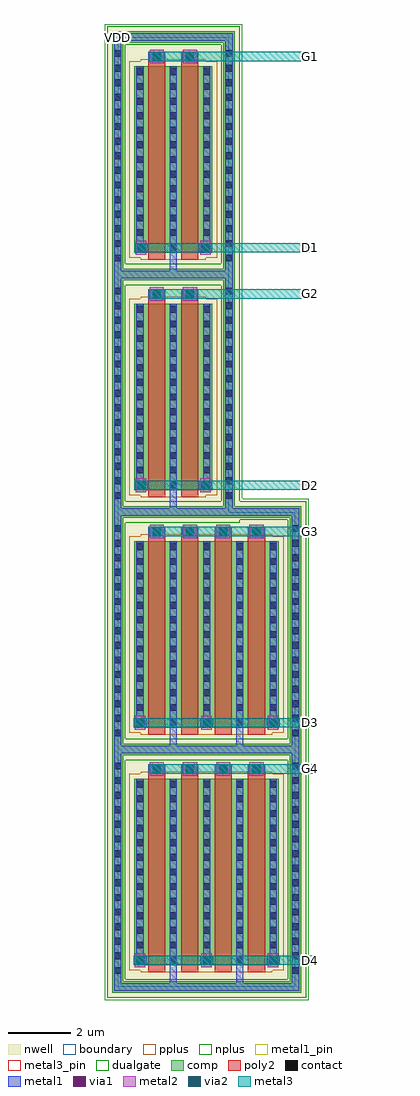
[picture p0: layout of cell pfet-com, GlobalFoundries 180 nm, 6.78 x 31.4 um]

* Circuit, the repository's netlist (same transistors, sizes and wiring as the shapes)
** sch_path: /foss/designs/sscs-chipathon2025-LNA/designs/libs/core_single-fet/pfet-com/pfet-com.sch
.subckt pfet-com VDD D1 G1 D2 G2 D3 G3 D4 G4
*.PININFO VDD:B D1:B G1:B D2:B G2:B D3:B G3:B G4:B D4:B
M9 D1 G1 VDD VDD pfet_06v0 L=0.55u W=6.0u nf=1 m=2
M10 D2 G2 VDD VDD pfet_06v0 L=0.55u W=6.0u nf=1 m=2
M11 D3 G3 VDD VDD pfet_06v0 L=0.55u W=6.0u nf=1 m=4
M12 D4 G4 VDD VDD pfet_06v0 L=0.55u W=6.0u nf=1 m=4
.ends

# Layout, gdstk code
import gdstk
lib = gdstk.Library(unit=1e-6, precision=1e-09)
def R(c, l, rs):  # rectangles x0, y0, x1, y1
    for r in rs: c.add(gdstk.rectangle(r[:2], r[2:], *l))
def A(c, l, x, y, w, h, nx, ny, dx, dy):  # array of equal rectangles
    R(c, l, [(x+i*dx, y+j*dy, x+i*dx+w, y+j*dy+h) for i in range(nx) for j in range(ny)])
boundary = (0, 0)
nwell = (21, 0)
comp = (22, 0)
poly2 = (30, 0)
pplus = (31, 0)
nplus = (32, 0)
contact = (33, 0)
metal1 = (34, 0)
metal1_pin = (34, 10)
via1 = (35, 0)
metal2 = (36, 0)
via2 = (38, 0)
metal3 = (42, 0)
metal3_pin = (42, 10)
dualgate = (55, 0)

pfet_06v0_zxy25q = lib.new_cell('pfet_06v0_ZXY25Q')
R(pfet_06v0_zxy25q, boundary, [(-2.86,-3.82,2.86,3.82)])
R(pfet_06v0_zxy25q, nwell, [(-3.2,-4.16,3.2,4.16)])
R(pfet_06v0_zxy25q, comp, [(-3.04,-4,3.04,-3.64), (-3.04,-3.64,-2.68,3.64), (2.68,-3.64,3.04,3.64), (-2.32,-3.12,2.32,2.88), (-3.04,3.64,3.04,4)])
A(pfet_06v0_zxy25q, poly2, -1.88, -3.34, 0.55, 6.68, 4, 1, 1.07, 0)
R(pfet_06v0_zxy25q, pplus, [(-2.11,-3.35,2.11,-3.28), (-2.48,-3.28,2.48,3.04), (-2.11,3.04,2.11,3.11)])
R(pfet_06v0_zxy25q, nplus, [(-3.2,-4.16,3.2,-3.57), (-3.2,-3.57,-2.61,3.57), (2.61,-3.57,3.2,3.57), (-3.2,3.57,3.2,4.16)])
A(pfet_06v0_zxy25q, contact, -2.97, -3.4, 0.22, 0.22, 1, 15, 0, 0.47)
A(pfet_06v0_zxy25q, contact, 2.75, -3.4, 0.22, 0.22, 1, 15, 0, 0.47)
A(pfet_06v0_zxy25q, contact, -2.25, -3.05, 0.22, 0.22, 5, 13, 1.07, 0.47)
A(pfet_06v0_zxy25q, contact, -1.715, 3.05, 0.22, 0.22, 4, 1, 1.07, 0)
A(pfet_06v0_zxy25q, metal1, -2.255, -3.11, 0.23, 5.98, 5, 1, 1.07, 0)
A(pfet_06v0_zxy25q, metal1, -1.87, 3.045, 0.53, 0.23, 4, 1, 1.07, 0)
R(pfet_06v0_zxy25q, metal1, [(-2.975,-3.935,2.975,-3.705), (-2.975,-3.705,-2.745,3.705), (2.745,-3.705,2.975,3.705), (-2.975,3.705,2.975,3.935)])
R(pfet_06v0_zxy25q, dualgate, [(-3.28,-4.24,3.28,4.24)])

pfet_06v0_r6z25q = lib.new_cell('pfet_06v0_R6Z25Q')
R(pfet_06v0_r6z25q, boundary, [(-1.79,-3.82,1.79,3.82)])
R(pfet_06v0_r6z25q, nwell, [(-2.13,-4.16,2.13,4.16)])
R(pfet_06v0_r6z25q, comp, [(-1.97,-4,1.97,-3.64), (-1.97,-3.64,-1.61,3.64), (1.61,-3.64,1.97,3.64), (-1.25,-3.12,1.25,2.88), (-1.97,3.64,1.97,4)])
R(pfet_06v0_r6z25q, poly2, [(-0.81,-3.34,-0.26,3.34), (0.26,-3.34,0.81,3.34)])
R(pfet_06v0_r6z25q, pplus, [(-1.04,-3.35,1.04,-3.28), (-1.41,-3.28,1.41,3.04), (-1.04,3.04,1.04,3.11)])
R(pfet_06v0_r6z25q, nplus, [(-2.13,-4.16,2.13,-3.57), (-2.13,-3.57,-1.54,3.57), (1.54,-3.57,2.13,3.57), (-2.13,3.57,2.13,4.16)])
A(pfet_06v0_r6z25q, contact, -1.9, -3.4, 0.22, 0.22, 1, 15, 0, 0.47)
A(pfet_06v0_r6z25q, contact, 1.68, -3.4, 0.22, 0.22, 1, 15, 0, 0.47)
A(pfet_06v0_r6z25q, contact, -1.18, -3.05, 0.22, 0.22, 3, 13, 1.07, 0.47)
R(pfet_06v0_r6z25q, contact, [(-0.645,3.05,-0.425,3.27), (0.425,3.05,0.645,3.27)])
A(pfet_06v0_r6z25q, metal1, -1.185, -3.11, 0.23, 5.98, 3, 1, 1.07, 0)
R(pfet_06v0_r6z25q, metal1, [(-1.905,-3.935,1.905,-3.705), (-1.905,-3.705,-1.675,3.705), (1.675,-3.705,1.905,3.705), (-0.8,3.045,-0.27,3.275), (0.27,3.045,0.8,3.275), (-1.905,3.705,1.905,3.935)])
R(pfet_06v0_r6z25q, dualgate, [(-2.21,-4.24,2.21,4.24)])

pfet_com = lib.new_cell('pfet-com')
A(pfet_com, metal1, -0.885, -36.165, 0.23, 0.595, 1, 3, 0, 7.64)
A(pfet_com, metal1, -2.05, -35.57, 0.42, 0.3, 3, 2, 2.14, 7.64)
A(pfet_com, metal1, -1.575, -29.415, 0.54, 0.3, 4, 2, 1.07, 7.64)
R(pfet_com, metal1, [(1.255,-36.165,1.485,-35.57), (1.255,-28.525,1.485,-27.93), (-2.015,-20.29,-1.595,-19.99), (0.055,-20.29,0.475,-19.99), (-1.575,-14.135,-1.035,-13.835), (-0.505,-14.135,0.035,-13.835), (-0.885,-13.25,-0.655,-12.65), (-2.015,-12.65,-1.595,-12.35), (0.055,-12.65,0.475,-12.35), (-1.575,-6.495,-1.035,-6.195), (-0.505,-6.495,0.035,-6.195), (-2.675,-5.835,-2.445,-5.605)])
R(pfet_com, metal1_pin, [(-2.675,-5.835,-2.445,-5.605)])
A(pfet_com, via1, -1.97, -35.55, 0.26, 0.26, 3, 2, 2.14, 7.64)
A(pfet_com, via1, -1.435, -29.395, 0.26, 0.26, 4, 2, 1.07, 7.64)
R(pfet_com, via1, [(-1.935,-20.27,-1.675,-20.01), (0.135,-20.27,0.395,-20.01), (-1.435,-14.115,-1.175,-13.855), (-0.365,-14.115,-0.105,-13.855), (-1.935,-12.63,-1.675,-12.37), (0.135,-12.63,0.395,-12.37), (-1.435,-6.475,-1.175,-6.215), (-0.365,-6.475,-0.105,-6.215)])
A(pfet_com, metal2, -2.01, -35.64, 0.34, 0.44, 3, 2, 2.14, 7.64)
A(pfet_com, metal2, -1.535, -29.485, 0.46, 0.44, 4, 2, 1.07, 7.64)
R(pfet_com, metal2, [(-1.975,-20.36,-1.635,-19.92), (0.095,-20.36,0.435,-19.92), (-1.535,-14.205,-1.075,-13.765), (-0.465,-14.205,-0.005,-13.765), (-1.975,-12.72,-1.635,-12.28), (0.095,-12.72,0.435,-12.28), (-1.535,-6.565,-1.075,-6.125), (-0.465,-6.565,-0.005,-6.125)])
A(pfet_com, via2, -1.97, -35.55, 0.26, 0.26, 3, 2, 2.14, 7.64)
A(pfet_com, via2, -1.435, -29.395, 0.26, 0.26, 4, 2, 1.07, 7.64)
R(pfet_com, via2, [(-1.935,-20.27,-1.675,-20.01), (0.135,-20.27,0.395,-20.01), (-1.435,-14.115,-1.175,-13.855), (-0.365,-14.115,-0.105,-13.855), (-1.935,-12.63,-1.675,-12.37), (0.135,-12.63,0.395,-12.37), (-1.435,-6.475,-1.175,-6.215), (-0.365,-6.475,-0.105,-6.215)])
A(pfet_com, metal3, -1.565, -29.415, 5.365, 0.3, 1, 4, 0, 7.64)
R(pfet_com, metal3, [(-2.04,-35.57,3.8,-35.27), (-2.04,-27.93,3.8,-27.63), (-2.005,-20.29,3.8,-19.99), (-2.005,-12.65,3.8,-12.35)])
R(pfet_com, metal3_pin, [(3.5,-35.57,3.8,-35.27), (3.5,-29.415,3.8,-29.115), (3.5,-27.93,3.8,-27.63), (3.5,-21.775,3.8,-21.475), (3.5,-20.29,3.8,-19.99), (3.5,-14.135,3.8,-13.835), (3.5,-12.65,3.8,-12.35), (3.5,-6.495,3.8,-6.195)])
pfet_com.add(gdstk.Reference(pfet_06v0_zxy25q, (0.3,-32.46)))
pfet_com.add(gdstk.Reference(pfet_06v0_r6z25q, (-0.77,-17.18)))
pfet_com.add(gdstk.Reference(pfet_06v0_zxy25q, (0.3,-24.82)))
pfet_com.add(gdstk.Reference(pfet_06v0_r6z25q, (-0.77,-9.54)))
pfet_com.add(gdstk.Label('VDD', (-2.56,-5.72), layer=34, texttype=10))
pfet_com.add(gdstk.Label('G1', (3.65,-6.345), layer=42, texttype=10))
pfet_com.add(gdstk.Label('D1', (3.65,-12.5), layer=42, texttype=10))
pfet_com.add(gdstk.Label('G2', (3.65,-13.985), layer=42, texttype=10))
pfet_com.add(gdstk.Label('D2', (3.65,-20.14), layer=42, texttype=10))
pfet_com.add(gdstk.Label('G3', (3.65,-21.625), layer=42, texttype=10))
pfet_com.add(gdstk.Label('D3', (3.65,-27.78), layer=42, texttype=10))
pfet_com.add(gdstk.Label('G4', (3.65,-29.265), layer=42, texttype=10))
pfet_com.add(gdstk.Label('D4', (3.65,-35.42), layer=42, texttype=10))

lib.write_gds('pfet-com.gds')
